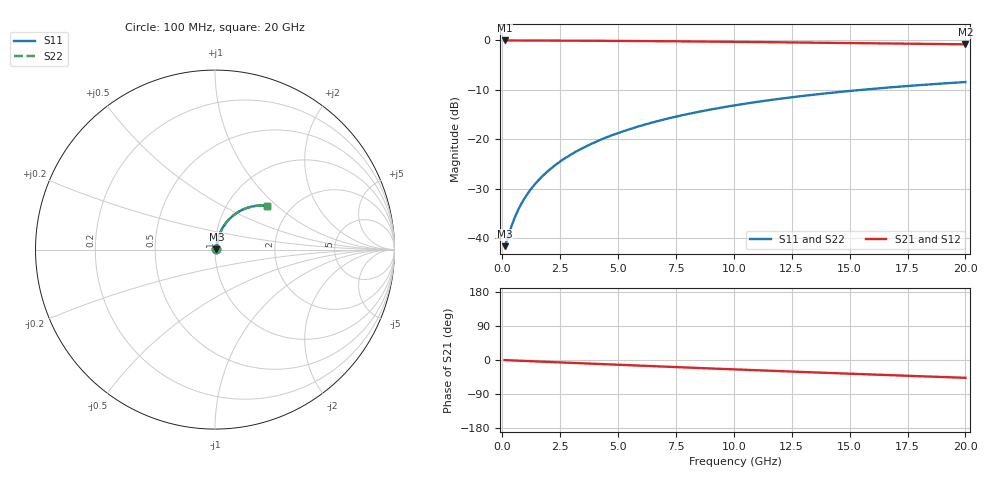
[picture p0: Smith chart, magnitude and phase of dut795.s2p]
! Touchstone file exported from HFSS 2026.1.0
!  File:  C:/ffzhzh/LocalFiles/Ansys_Project_Files/temp_train_BSMRDL_795_1783169613_18472.aedt
!  Generated:  08:54:49 PM Jul  4, 2026
!  Design:  BSMRDL
!  Project:  temp_train_BSMRDL_795_1783169613_18472
! Variables:
!  h_bsmrdl = 2.62um
!  h_ox = 20um
!  h_rdl = 5um
!  h_sub = 80um
!  h_tmrdl = 5um
!  h_tsv = 80um
!  h_via = 3um
!  l_bsmrdl = 750.14um
!  l_sub = 1150.14um
!  l_tmrdl = 200um
!  m_sub = 200um
!  pitch = 26.1um
!  r_tsv = 6um
!  s_tmrdl = 10um
!  w_bsmrdl = 12.86um
!  w_sub = 500um
!  w_tmrdl = 12um
!  x_tsv_center1 = 206um
!  x_tsv_center2 = 969um
!  x_tsv_center3 = 1181um
!  x_tsv_center4 = 1944um
!  x_tsv_center5 = 2156um
!  x_tsv_center6 = 2919um
# GHz S MA R 50.000000
! Terminal data exported
! Port[1] = BSM_RDL1_1_T1
! Port[2] = BSM_RDL1_1_T2
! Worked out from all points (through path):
!   200 points, 100 MHz to 20 GHz, reference 50 ohm
!   highest |S21| = -0.07 dB at 100 MHz (marker M1); lowest = -0.9 dB at 20 GHz (marker M2)
!   group delay of S21, straight-line fit = 6.53 ps
!   lowest |S11| = -41.6 dB at 100 MHz (marker M3), VSWR 1.02, Z = 50.8 + j0.264 ohm
!   |S11| at or under -10 dB: start of sweep to 15.6 GHz
!   |S22| runs from -41.6 to -8.5 dB; largest |S21 - S12| = 4.4e-15
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0.1  0.00833 18.2  0.9921 -0.3  0.9921 -0.3  0.00833 18.2
! Gamma 0 0 0 0
! Port Impedance 50 0 50 0
0.2  0.009578 32.7  0.992 -0.5  0.992 -0.5  0.009578 32.7
0.4  0.01328 49.8  0.9916 -1.1  0.9916 -1.1  0.01328 49.8
0.5  0.01536 54.7  0.9913 -1.3  0.9913 -1.3  0.01536 54.7
0.7  0.01965 61.0  0.9909 -1.8  0.9909 -1.8  0.01965 61.0
0.8  0.02182 63.2  0.9907 -2.1  0.9907 -2.1  0.02182 63.2
1  0.02618 66.4  0.9903 -2.6  0.9903 -2.6  0.02618 66.4
1.3  0.03276 69.4  0.9898 -3.4  0.9898 -3.4  0.03276 69.4
1.7  0.04163 71.8  0.9892 -4.4  0.9892 -4.4  0.04163 71.8
2.2  0.05282 73.2  0.9884 -5.6  0.9884 -5.6  0.05282 73.2
2.8  0.06631 73.8  0.9874 -7.1  0.9874 -7.1  0.06631 73.8
3.5  0.08205 73.6  0.9859 -8.9  0.9859 -8.9  0.08205 73.6
4.2  0.09769 72.8  0.9842 -10.6  0.9842 -10.6  0.0977 72.9
5  0.1154 71.6  0.9818 -12.6  0.9818 -12.6  0.1154 71.7
5.9  0.135 70.0  0.9789 -14.8  0.9789 -14.8  0.135 70.1
6.8  0.1542 68.3  0.9755 -17.0  0.9755 -17.0  0.1543 68.3
8.3  0.1853 65.1  0.9692 -20.7  0.9692 -20.7  0.1854 65.2
10.1  0.2209 61.2  0.9607 -25.0  0.9607 -25.0  0.2209 61.3
11.7  0.2507 57.7  0.9524 -28.7  0.9524 -28.7  0.2507 57.8
13.4  0.2805 54.0  0.9432 -32.6  0.9432 -32.6  0.2806 54.0
16.7  0.3327 47.0  0.9248 -39.9  0.9248 -39.9  0.3328 47.0
20  0.3774 40.1  0.9067 -47.0  0.9067 -47.0  0.3775 40.2
